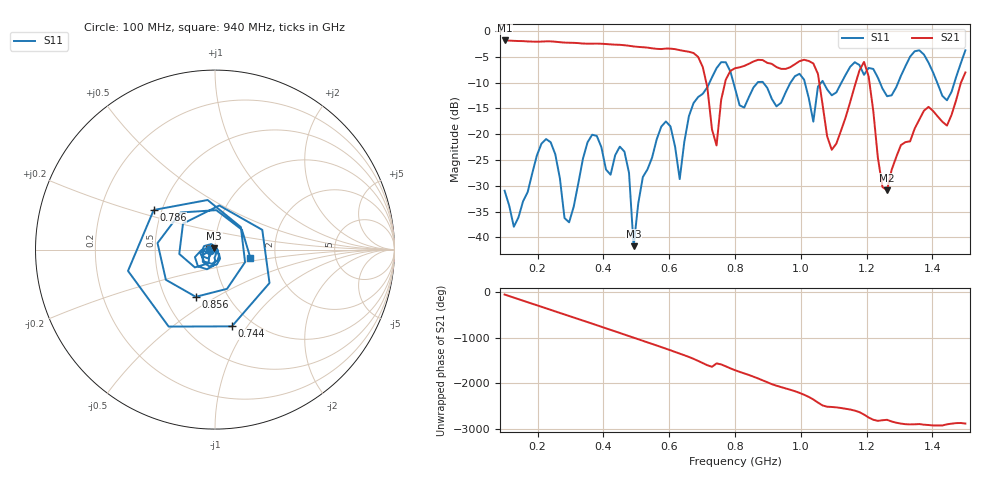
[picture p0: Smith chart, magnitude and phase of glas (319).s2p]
! NanoVNA-App
! Date: 2025-09-25 15:57:57
! Start: 100MHz Stop: 1,5GHz Points: 101
! S-Parameter data: F S11 S21 S12 S22
# Hz S RI R 50
!  Frequency  S11_Real  S11_Imag  S21_Real  S21_Imag  S12_Real  S12_Imag  S22_Real  S22_Imag
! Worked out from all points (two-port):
!   101 points, 100 MHz to 1.5 GHz, reference 50 ohm
!   highest |S21| = -1.80 dB at 100 MHz (marker M1); lowest = -30.8 dB at 1.262 GHz (marker M2)
!   |S21| within 3 dB of the highest: start of sweep to 684.3 MHz
!   lowest |S11| = -41.7 dB at 492 MHz (marker M3), VSWR 1.02, Z = 49.5 + j0.641 ohm
!   |S11| at or under -10 dB: start of sweep to 722.5 MHz; 795.4 MHz to 868.2 MHz (72.84 MHz wide, 8.76 % of centre); 886 MHz to 968.5 MHz (82.54 MHz wide, 8.9 % of centre) (the widest 3 of 7)
!   S12 and S22 are empty: the file has one direction only
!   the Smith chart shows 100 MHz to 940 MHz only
!   S11 on the Smith chart (normalised r, x): 100 MHz: 0.95, -0.01; 744 MHz: 0.81, -0.85; 786 MHz: 0.45, +0.24; 856 MHz: 0.71, -0.41; 940 MHz: 1.48, -0.14
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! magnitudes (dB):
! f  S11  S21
! 100 MHz  -30.9  -1.8
! 128 MHz  -37.9  -1.9
! 226 MHz  -20.9  -2.0
! 296 MHz  -37.1  -2.2
! 338 MHz  -24.7  -2.4
! 464 MHz  -23.4  -2.7
! 492 MHz  -41.7  -3.0
! 576 MHz  -18.5  -3.5
! 632 MHz  -28.7  -3.7
! 702 MHz  -12.2  -6.9
! 744 MHz  -7.2  -22.2
! 786 MHz  -7.8  -7.7
! 800 MHz  -11.1  -7.2
! 856 MHz  -10.9  -5.9
! 940 MHz  -13.9  -7.3
! 996 MHz  -8.3  -5.8
! 1.038 GHz  -17.5  -6.3
! 1.094 GHz  -12.4  -23.0
! 1.192 GHz  -8.5  -6.0
! 1.262 GHz  -12.6  -30.8
! 1.276 GHz  -12.4  -26.9
! 1.5 GHz  -3.7  -8.0
